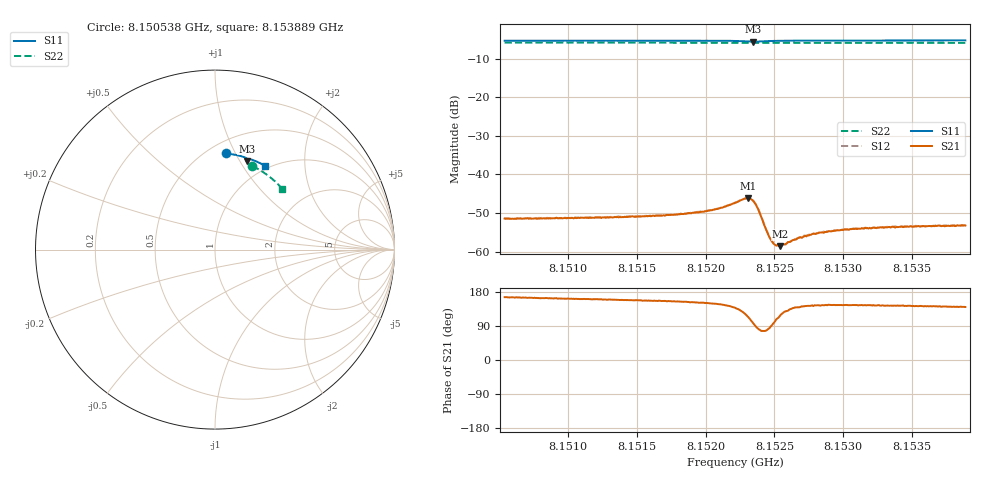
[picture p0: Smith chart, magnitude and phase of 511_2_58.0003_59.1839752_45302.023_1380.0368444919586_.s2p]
#  HZ  S  RI  R  50.00
! Rohde & Schwarz Vector Network Analyzer
! Rohde-Schwarz,ZNB20-2Port,1311601062101988,3.16
! Created: UTC 3/21/2024, 1:13:11 AM
! freq[Hz]  re:S11  im:S11  re:S21  im:S21  re:S12  im:S12  re:S22  im:S22
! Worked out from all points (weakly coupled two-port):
!   401 points, 8.150538 GHz to 8.153889 GHz, reference 50 ohm
!   highest |S21| = -46.23 dB at 8.152305 GHz (marker M1); lowest = -58.6 dB at 8.15254 GHz (marker M2)
!   lowest |S11| = -5.6 dB at 8.152347 GHz (marker M3), VSWR 3.20, Z = 39.4 + j53.5 ohm
!   |S11| at or under -10 dB: nowhere
!   |S22| runs from -5.9 to -5.9 dB; largest |S21 - S12| = 0.00012
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8.1505375e9  0.0597 0.5355  -0.00259 0.000653  -0.00258 0.000727  0.208 0.4655
8.1510988e9  0.0988 0.5306  -0.0026 0.000895  -0.0026 0.000923  0.2398 0.4489
8.1516602e9  0.1378 0.5227  -0.00268 0.00115  -0.00266 0.00124  0.2703 0.4302
8.1518445e9  0.1508 0.519  -0.00276 0.00136  -0.00276 0.0014  0.2801 0.4236
8.1519953e9  0.1618 0.5155  -0.00288 0.00165  -0.00289 0.00166  0.2881 0.4179
8.1520874e9  0.1688 0.5126  -0.00301 0.00191  -0.00302 0.00196  0.2928 0.4145
8.1522131e9  0.1788 0.506  -0.00319 0.00286  -0.00313 0.00295  0.2991 0.4095
8.1522717e9  0.1819 0.4999  -0.0028 0.00383  -0.00275 0.00391  0.3019 0.4071
8.1523053e9  0.1813 0.4956  -0.00207 0.00442  -0.002 0.00448  0.3036 0.4057
8.1523304e9  0.1787 0.4935  -0.00114 0.00462  -0.00111 0.00468  0.3045 0.4047
8.1523471e9  0.1765 0.4931  -0.000478 0.00445  -0.000449 0.00454  0.3053 0.404
8.1523807e9  0.1732 0.496  0.000446 0.00354  0.000526 0.00355  0.3068 0.403
8.1524393e9  0.1758 0.5026  0.000414 0.00189  0.000445 0.00186  0.3098 0.4009
8.1524728e9  0.1794 0.5044  4.16e-05 0.00143  8.97e-05 0.00144  0.3116 0.3995
8.1524979e9  0.182 0.505  -0.000194 0.00123  -0.00018 0.00122  0.3129 0.3988
8.1525231e9  0.1846 0.5052  -0.000417 0.00113  -0.000383 0.00114  0.314 0.3977
8.1525398e9  0.186 0.5052  -0.000526 0.00105  -0.000512 0.00108  0.315 0.397
8.1527074e9  0.2002 0.5026  -0.0012 0.000964  -0.00122 0.000975  0.3233 0.3902
8.1527744e9  0.2051 0.501  -0.00137 0.000983  -0.00134 0.000996  0.3264 0.3873
8.1529839e9  0.2197 0.4957  -0.00156 0.00108  -0.00157 0.00113  0.3362 0.3784
8.1533357e9  0.2426 0.4857  -0.00166 0.00126  -0.00166 0.00126  0.3521 0.3629
8.1538887e9  0.277 0.468  -0.00166 0.0014  -0.00165 0.00142  0.3758 0.3371
